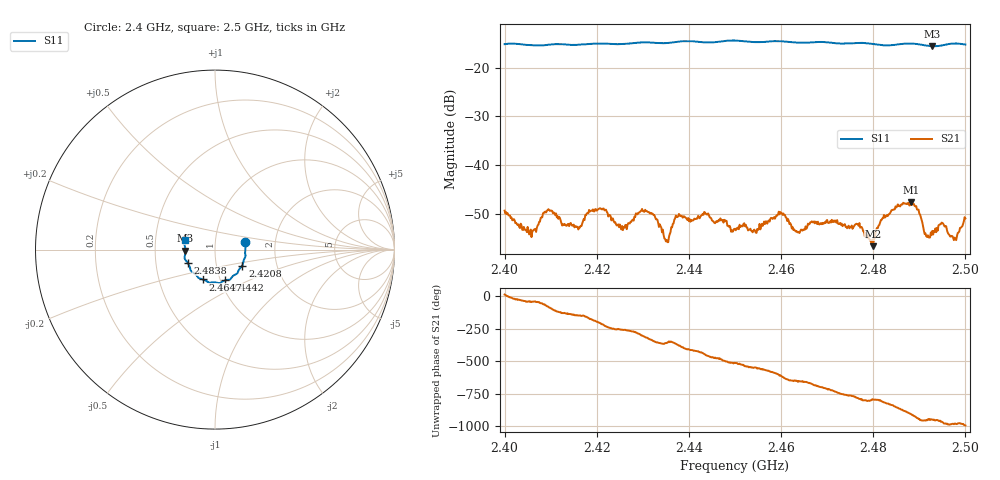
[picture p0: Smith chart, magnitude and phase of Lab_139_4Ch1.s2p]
# Hz S RI R 50
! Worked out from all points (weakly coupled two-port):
!   601 points, 2.4 GHz to 2.5 GHz, reference 50 ohm
!   highest |S21| = -47.59 dB at 2.4882 GHz (marker M1); lowest = -56.6 dB at 2.48 GHz (marker M2)
!   lowest |S11| = -15.6 dB at 2.4928 GHz (marker M3), VSWR 1.40, Z = 35.8 - j0.436 ohm
!   |S11| at or under -10 dB: start of sweep to end of sweep
!   S12 and S22 are empty: the file has one direction only
!   S11 on the Smith chart (normalised r, x): 2.4 GHz: 1.40, +0.12; 2.4208 GHz: 1.33, -0.24; 2.4442 GHz: 1.05, -0.37; 2.4647 GHz: 0.83, -0.29; 2.4838 GHz: 0.73, -0.11; 2.5 GHz: 0.71, +0.08
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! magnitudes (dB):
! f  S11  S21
! 2.4 GHz  -15.2  -49.3
! 2.4057 GHz  -15.4  -53.2
! 2.4097 GHz  -15.3  -49.2
! 2.4167 GHz  -15.3  -52.5
! 2.4208 GHz  -15.1  -48.9
! 2.4253 GHz  -15.2  -53.2
! 2.43 GHz  -14.8  -49.4
! 2.4333 GHz  -15.0  -51.9
! 2.4352 GHz  -15.0  -55.4
! 2.4375 GHz  -14.7  -50.7
! 2.4442 GHz  -14.9  -49.9
! 2.45 GHz  -14.5  -53.1
! 2.46 GHz  -14.6  -49.8
! 2.4647 GHz  -14.9  -53.4
! 2.4667 GHz  -14.8  -51.5
! 2.48 GHz  -15.2  -56.6
! 2.4833 GHz  -15.5  -50.1
! 2.4838 GHz  -15.4  -49.5
! 2.4882 GHz  -15.1  -47.6
! 2.4928 GHz  -15.6  -53.5
! 2.4977 GHz  -15.1  -54.9
! 2.5 GHz  -15.3  -50.9
